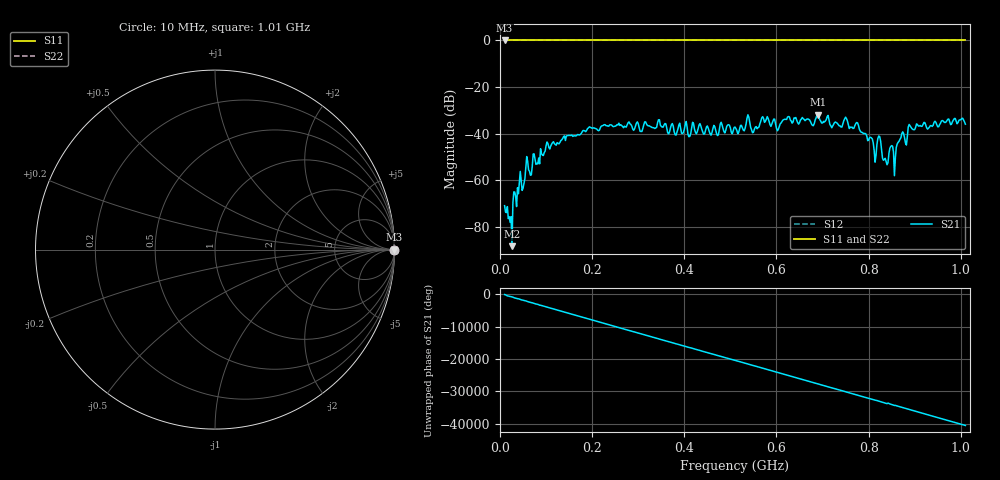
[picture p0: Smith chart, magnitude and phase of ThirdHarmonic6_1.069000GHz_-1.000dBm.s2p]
! 8/16/2025 9:40:48 AM
! C:\ANRITSUVNA\TEMP\TEMP.S2P
! CHANNEL.1
! TR.MEASUREMENT
! RAW.DATA
! RF.CORRECTION.OFF
! AVERAGING.OFF
! IF.BANDWIDTH: 5KHZ
! SWEEPTYPE:  FREQ.SWEEP(Linear)
! Reference Plane Port Info
! PORT:  PORT1  PORT2
! DISTANCE:  0  m  0  m
! TIME:  0  s  0  s
! PHASE.OFFSET:  0  deg.  0  deg.
! LOSS:  0  dB  0  dB
! REF.LOSS:  0  dB  0  dB
! REF.FREQ:  0  Hz  0  Hz
! Power Info
! POWER:  -20  dBm  -20  dBm
! EFF.POWER:  -20  dBm  -20  dBm
! SOURCE.ATTEN:  0  dB  0  dB
! TEST.ATTEN:  0  dB  0  dB
# GHZ S RI R 50.0
! FREQ.GHZ  S11RE  S11IM  S21RE  S21IM  S12RE  S12IM  S22RE  S22IM
!; PortSelection: Port_12
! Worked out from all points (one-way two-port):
!   501 points, 10 MHz to 1.01 GHz, reference 50 ohm
!   highest |S21| = -31.90 dB at 690 MHz (marker M1); lowest = -88.3 dB at 26 MHz (marker M2)
!   lowest |S11| = 0.0 dB at 10 MHz (marker M3)
!   |S11| at or under -10 dB: nowhere
!   |S22| runs from 0.0 to 0.0 dB; largest |S21 - S12| = 1
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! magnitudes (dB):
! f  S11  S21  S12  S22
! 10 MHz  0.0  -70.9  0.0  0.0
! 22 MHz  0.0  -78.1  0.0  0.0
! 26 MHz  0.0  -88.3  0.0  0.0
! 60 MHz  0.0  -51.8  0.0  0.0
! 178 MHz  0.0  -39.3  0.0  0.0
! 344 MHz  0.0  -34.0  0.0  0.0
! 382 MHz  0.0  -40.6  0.0  0.0
! 510 MHz  0.0  -37.2  0.0  0.0
! 538 MHz  0.0  -31.9  0.0  0.0
! 548 MHz  0.0  -39.6  0.0  0.0
! 570 MHz  0.0  -32.7  0.0  0.0
! 678 MHz  0.0  -36.5  0.0  0.0
! 690 MHz  0.0  -31.9  0.0  0.0
! 774 MHz  0.0  -35.2  0.0  0.0
! 814 MHz  0.0  -52.2  0.0  0.0
! 824 MHz  0.0  -41.3  0.0  0.0
! 836 MHz  0.0  -50.6  0.0  0.0
! 844 MHz  0.0  -48.6  0.0  0.0
! 858 MHz  0.0  -50.5  0.0  0.0
! 870 MHz  0.0  -41.8  0.0  0.0
! 890 MHz  0.0  -36.7  0.0  0.0
! 1.01 GHz  0.0  -35.9  0.0  0.0
